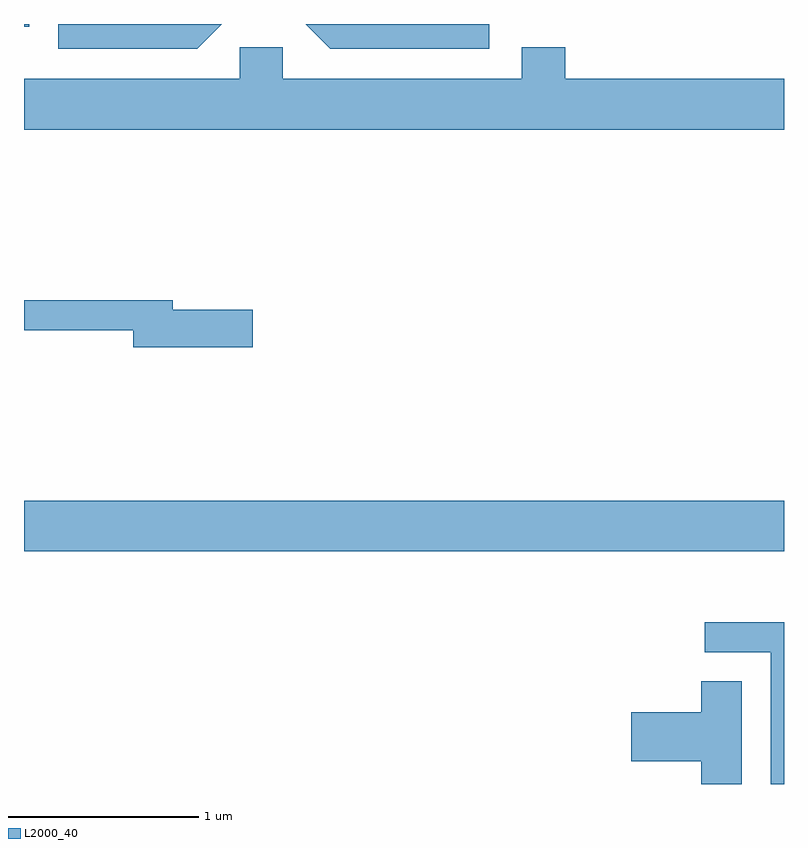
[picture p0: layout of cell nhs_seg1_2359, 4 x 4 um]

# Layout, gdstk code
import gdstk
lib = gdstk.Library(unit=1e-6, precision=1e-09)
def R(c, l, rs):  # rectangles x0, y0, x1, y1
    for r in rs: c.add(gdstk.rectangle(r[:2], r[2:], *l))
def P(c, l, *ps):  # polygons
    for p in ps: c.add(gdstk.Polygon(p, *l))
L2000_40 = (2000, 40)

nhs_seg1_2359 = lib.new_cell('nhs_seg1_2359')
R(nhs_seg1_2359, L2000_40, [(257.611,872.936,261.611,873.204), (257.611,875.698,257.639,875.712)])
P(nhs_seg1_2359, L2000_40, [(258.653,875.712),(257.791,875.712),(257.791,875.581),(258.522,875.581)],
  [(260.059,875.712),(259.093,875.712),(259.224,875.581),(260.059,875.581)],
  [(258.746,875.589),(258.746,875.424),(257.611,875.424),(257.611,875.156),(261.611,875.156),(261.611,875.424),(260.459,875.424),(260.459,875.589),(260.231,875.589),(260.231,875.424),(258.974,875.424),(258.974,875.589)],
  [(258.814,874.209),(258.394,874.209),(258.394,874.259),(257.611,874.259),(257.611,874.101),(258.186,874.101),(258.186,874.011),(258.814,874.011)],
  [(261.611,872.564),(261.193,872.564),(261.193,872.406),(261.541,872.406),(261.541,871.712),(261.611,871.712)],
  [(261.389,872.254),(261.176,872.254),(261.176,872.089),(260.806,872.089),(260.806,871.831),(261.176,871.831),(261.176,871.712),(261.389,871.712)])

lib.write_gds('nhs_seg1_2359.gds')
